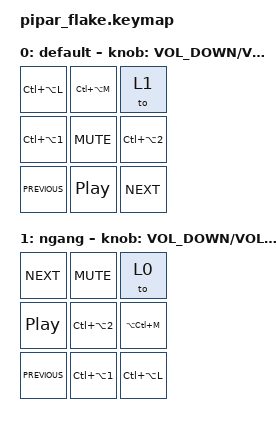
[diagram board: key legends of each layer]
/*
 * Copyright (c) 2022 The ZMK Contributors
 *
 * SPDX-License-Identifier: MIT
 */

#include <behaviors.dtsi>
#include <dt-bindings/zmk/keys.h>

#define BASE        0
#define FUNC        1

/ {
    sensors: sensors {
        compatible = "zmk,keymap-sensors";
        sensors = <&encoder_1>;
        triggers-per-rotation = <24>;
    };

    keymap {
        compatible = "zmk,keymap";

        DOC {
            // ---------------------------//
            // | Q    | W     | ENCODER | //
            // | A    | S     | D       | //
            // | Z    | X     | FN      | //

            display-name = "default";
            bindings = <
&kp LC(LA(L))   &kp LC(LA(M))     &to 1
&kp LC(LA(N1))  &kp C_MUTE        &kp LC(LA(N2))
&kp C_PREVIOUS  &kp C_PLAY_PAUSE  &kp C_NEXT
            >;

            sensor-bindings = <&inc_dec_kp C_VOLUME_DOWN C_VOLUME_UP>;
        };

        layer_2 {
            display-name = "ngang";
            bindings = <
&kp C_NEXT        &kp C_MUTE            &to 0
&kp C_PLAY_PAUSE  &kp LC(LA(NUMBER_2))  &kp LA(LC(M))
&kp C_PREVIOUS    &kp LC(LA(NUMBER_1))  &kp LC(LA(L))
            >;

            sensor-bindings = <&inc_dec_kp C_VOLUME_DOWN C_VOLUME_UP>;
        };
    };
};
